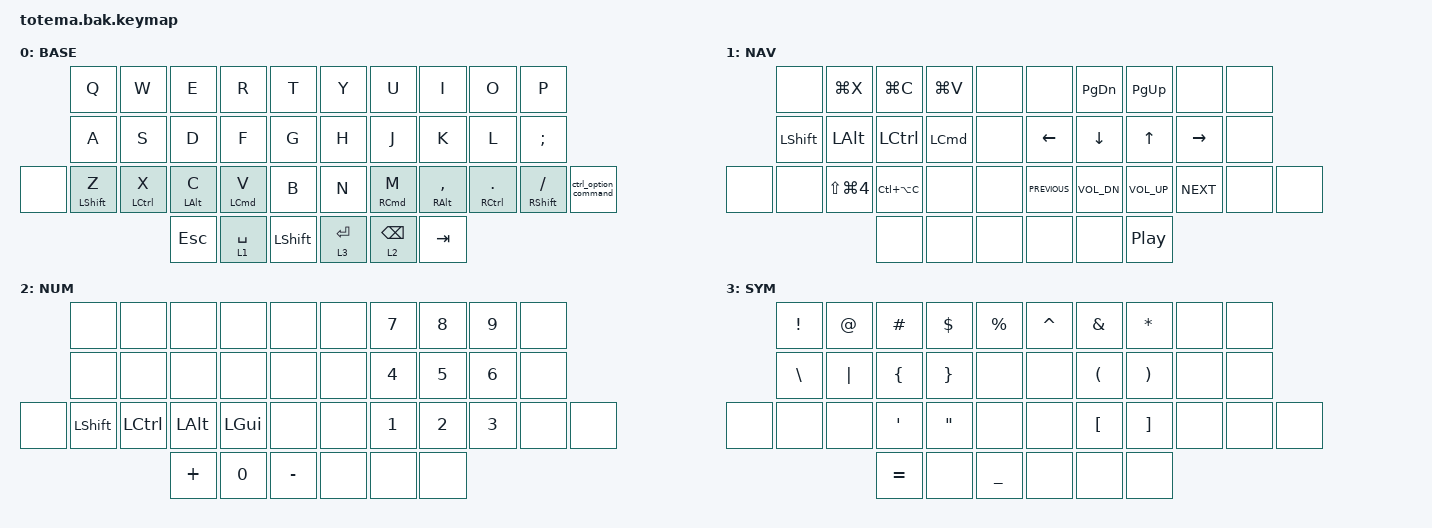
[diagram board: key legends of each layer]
//
//                                                        ▀▀▀▀▀     ▀▀▀▀▀          ▀▀█▀▀
//                                                        ▄▀▀▀▄  ▄  ▄▀▀▀▄  ▄  ▄▀▀▀▄  █  ▄▀▀▀▄
//                                                        █   █  █  █   █  █  █   █  █  █   █
//                                                         ▀▀▀   █   ▀▀▀   █   ▀▀▀   ▀   ▀▀▀
//                                                               █      ▄▄▄█▄▄▄    █   █  
//                                                               ▀      █  █  █     █▄█
//                                                             ▀▀▀▀▀    █  █  █      ▀
//                                                                      ▀  ▀  ▀
//
// ▄▄▄▄▄▄▄▄▄▄▄▄▄▄▄▄▄▄▄▄▄▄▄▄▄▄▄▄▄▄▄▄▄▄▄▄▄▄▄▄▄▄▄▄▄▄▄▄▄▄▄▄▄▄▄▄▄▄▄▄▄▄▄▄▄▄▄▄▄▄▄▄▄▄▄▄▄▄▄▄▄▄▄▄▄▄▄▄▄▄▄▄▄▄▄▄▄▄▄▄▄▄▄▄▄▄▄▄▄▄▄▄▄▄▄▄▄▄▄▄▄▄▄▄▄▄▄▄▄▄▄▄▄▄▄▄▄▄▄▄▄▄▄▄▄▄▄▄▄

#include <behaviors.dtsi>
#include <dt-bindings/zmk/keys.h>

#define BASE 0
#define NAV  1
#define SYM  2
#define ADJ  3

&mt {
    quick-tap-ms = <100>;
    global-quick-tap;
    flavor = "tap-preferred";
    tapping-term-ms = <170>;
};

/ {
    combos {
        compatible = "zmk,combos";

        alt-tab {
            bindings = <&kp RA(TAB)>;
            key-positions = <18 37>;
        };
    };

    behaviors {
        ctrl_option_command: ctrl_option_command {
            compatible = "zmk,behavior-mod-morph";
            label = "CTRL_OPTION_COMMAND";
            bindings = <&kp LA(LEFT_COMMAND)>, <&none>;

            #binding-cells = <0>;
            mods = <(MOD_LCTL)>;
        };
    };

    keymap {
        compatible = "zmk,keymap";

        // ▄▄▄▄▄▄▄▄▄▄▄▄▄▄▄▄▄▄▄▄▄▄▄▄▄▄▄▄▄▄▄▄▄▄▄▄▄▄▄▄▄▄▄▄▄▄▄▄▄▄▄▄▄▄▄▄▄▄▄▄▄▄▄▄▄▄▄▄▄▄▄▄▄▄▄▄▄▄▄▄▄▄▄▄▄▄▄▄▄▄▄▄▄▄▄▄▄▄▄▄▄▄▄▄▄▄▄▄▄▄▄▄▄▄▄▄▄▄▄▄▄▄▄▄▄▄▄▄▄▄▄▄▄▄▄▄▄▄▄▄▄▄▄▄▄▄▄▄▄

        base_layer {
            // ┏━━━━━━━━━━━━━━━━━━━━━━━━━━━━━━━━━━━━━━━┓

            label = "BASE";

            // ┗━━━━━━━━━━━━━━━━━━━━━━━━━━━━━━━━━━━━━━━┛
            //             ┏━━━━━━━━━━━┳━━━━━━━━━━━┳━━━━━━━━━━━┳━━━━━━━━━━━┳━━━━━━━━━━━┓   ┏━━━━━━━━━━━┳━━━━━━━━━━━┳━━━━━━━━━━━┳━━━━━━━━━━━┳━━━━━━━━━━━┓
            //             ┃     Q     ┃     W     ┃     F     ┃     P     ┃     G     ┃   ┃     J     ┃     L     ┃     U     ┃     Y     ┃     ;     ┃
            //             ┣━━━━━━━━━━━╋━━━━━━━━━━━╋━━━━━━━━━━━╋━━━━━━━━━━━╋━━━━━━━━━━━┫   ┣━━━━━━━━━━━╋━━━━━━━━━━━╋━━━━━━━━━━━╋━━━━━━━━━━━╋━━━━━━━━━━━┫
            //             ┃     A     ┃     R     ┃     S     ┃     T     ┃     D     ┃   ┃     H     ┃     N     ┃     E     ┃     I     ┃     O     ┃
            // ┏━━━━━━━━━━━╋━━━━━━━━━━━╋━━━━━━━━━━━╋━━━━━━━━━━━╋━━━━━━━━━━━╋━━━━━━━━━━━┫   ┣━━━━━━━━━━━╋━━━━━━━━━━━╋━━━━━━━━━━━╋━━━━━━━━━━━╋━━━━━━━━━━━╋━━━━━━━━━━━┓
            // ┃           ┃     Z     ┃     X     ┃     C     ┃     V     ┃     B     ┃   ┃     K     ┃     M     ┃     ,     ┃     .     ┃     /     ┃           ┃
            // ┗━━━━━━━━━━━┻━━━━━━━━━━━┻━━━━━━━━━━━╋━━━━━━━━━━━╋━━━━━━━━━━━╋━━━━━━━━━━━┫   ┣━━━━━━━━━━━╋━━━━━━━━━━━╋━━━━━━━━━━━╋━━━━━━━━━━━┻━━━━━━━━━━━┻━━━━━━━━━━━┛
            //                                     ┃           ┃    TAB    ┃    SPC    ┃   ┃   ENTER   ┃   BSPC    ┃           ┃
            //                                     ┗━━━━━━━━━━━┻━━━━━━━━━━━┻━━━━━━━━━━━┛   ┗━━━━━━━━━━━┻━━━━━━━━━━━┻━━━━━━━━━━━┛

            bindings = <
       &kp Q             &kp W               &kp E           &kp R               &kp T             &kp Y      &kp U                &kp I                &kp O                  &kp P
       &kp A             &kp S               &kp D           &kp F               &kp G             &kp H      &kp J                &kp K                &kp L                  &kp SEMI
&none  &mt LEFT_SHIFT Z  &mt LEFT_CONTROL X  &mt LEFT_ALT C  &mt LEFT_COMMAND V  &kp B             &kp N      &mt RIGHT_COMMAND M  &mt RIGHT_ALT COMMA  &mt RIGHT_CONTROL DOT  &mt RIGHT_SHIFT FSLH  &ctrl_option_command
                                             &kp ESC         &lt 1 SPACE         &kp LEFT_SHIFT    &lt 3 RET  &lt 2 BACKSPACE      &kp TAB
            >;
        };

        NAV {
            bindings = <
       &none           &kp LG(X)             &kp LG(C)         &kp LG(V)         &none    &none           &kp PAGE_DOWN   &kp PAGE_UP       &none            &none
       &kp LEFT_SHIFT  &kp LEFT_ALT          &kp LEFT_CONTROL  &kp LEFT_COMMAND  &none    &kp LEFT_ARROW  &kp DOWN_ARROW  &kp UP_ARROW      &kp RIGHT_ARROW  &none
&none  &none           &kp LS(LG(NUMBER_4))  &kp LC(LA(C))     &none             &none    &kp C_PREVIOUS  &kp C_VOL_DN    &kp C_VOLUME_UP   &kp C_NEXT       &none  &none
                                             &none             &none             &none    &none           &none           &kp C_PLAY_PAUSE
            >;
        };

        NUM {
            bindings = <
       &none      &none      &none     &none     &none        &none  &kp N7        &kp N8        &kp N9        &none
       &none      &none      &none     &none     &none        &none  &kp NUMBER_4  &kp NUMBER_5  &kp NUMBER_6  &none
&none  &kp LSHFT  &kp LCTRL  &kp LALT  &kp LGUI  &none        &none  &kp NUMBER_1  &kp NUMBER_2  &kp NUMBER_3  &none  &none
                             &kp PLUS  &kp N0    &kp MINUS    &none  &none         &none
            >;
        };

        SYM {
            bindings = <
       &kp EXCL       &kp AT    &kp HASH          &kp DOLLAR         &kp PERCENT       &kp CARET  &kp AMPERSAND         &kp ASTERISK           &none  &none
       &kp BACKSLASH  &kp PIPE  &kp LEFT_BRACE    &kp RIGHT_BRACE    &none             &none      &kp LEFT_PARENTHESIS  &kp RIGHT_PARENTHESIS  &none  &none
&none  &none          &none     &kp SINGLE_QUOTE  &kp DOUBLE_QUOTES  &none             &none      &kp LEFT_BRACKET      &kp RIGHT_BRACKET      &none  &none  &none
                                &kp EQUAL         &none              &kp UNDERSCORE    &none      &none                 &none
            >;
        };
    };
};
